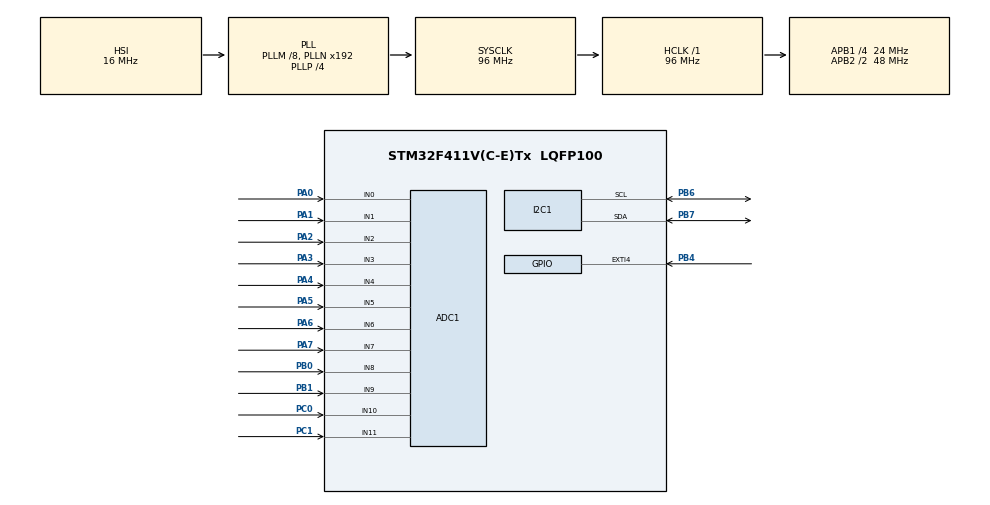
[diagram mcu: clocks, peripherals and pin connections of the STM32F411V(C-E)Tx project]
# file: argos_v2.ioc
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ADC1.Channel-0\#ChannelRegularConversion=ADC_CHANNEL_0
ADC1.Channel-1\#ChannelRegularConversion=ADC_CHANNEL_1
ADC1.Channel-10\#ChannelRegularConversion=ADC_CHANNEL_10
ADC1.Channel-11\#ChannelRegularConversion=ADC_CHANNEL_11
ADC1.Channel-2\#ChannelRegularConversion=ADC_CHANNEL_2
ADC1.Channel-3\#ChannelRegularConversion=ADC_CHANNEL_3
ADC1.Channel-4\#ChannelRegularConversion=ADC_CHANNEL_4
ADC1.Channel-5\#ChannelRegularConversion=ADC_CHANNEL_5
ADC1.Channel-6\#ChannelRegularConversion=ADC_CHANNEL_6
ADC1.Channel-7\#ChannelRegularConversion=ADC_CHANNEL_7
ADC1.Channel-8\#ChannelRegularConversion=ADC_CHANNEL_8
ADC1.Channel-9\#ChannelRegularConversion=ADC_CHANNEL_9
ADC1.ContinuousConvMode=DISABLE
ADC1.DMAContinuousRequests=ENABLE
ADC1.DiscontinuousConvMode=DISABLE
ADC1.EOCSelection=ADC_EOC_SEQ_CONV
ADC1.ExternalTrigConv=ADC_EXTERNALTRIGCONV_T3_TRGO
ADC1.NbrOfConversion=12
ADC1.NbrOfConversionFlag=1
ADC1.Rank-0\#ChannelRegularConversion=1
ADC1.Rank-1\#ChannelRegularConversion=2
ADC1.Rank-10\#ChannelRegularConversion=11
ADC1.Rank-11\#ChannelRegularConversion=12
ADC1.Rank-2\#ChannelRegularConversion=3
ADC1.Rank-3\#ChannelRegularConversion=4
ADC1.Rank-4\#ChannelRegularConversion=5
ADC1.Rank-5\#ChannelRegularConversion=6
ADC1.Rank-6\#ChannelRegularConversion=7
ADC1.Rank-7\#ChannelRegularConversion=8
ADC1.Rank-8\#ChannelRegularConversion=9
ADC1.Rank-9\#ChannelRegularConversion=10
ADC1.SamplingTime-0\#ChannelRegularConversion=ADC_SAMPLETIME_3CYCLES
ADC1.SamplingTime-1\#ChannelRegularConversion=ADC_SAMPLETIME_3CYCLES
ADC1.SamplingTime-10\#ChannelRegularConversion=ADC_SAMPLETIME_3CYCLES
ADC1.SamplingTime-11\#ChannelRegularConversion=ADC_SAMPLETIME_3CYCLES
ADC1.SamplingTime-2\#ChannelRegularConversion=ADC_SAMPLETIME_3CYCLES
ADC1.SamplingTime-3\#ChannelRegularConversion=ADC_SAMPLETIME_3CYCLES
ADC1.SamplingTime-4\#ChannelRegularConversion=ADC_SAMPLETIME_3CYCLES
ADC1.SamplingTime-5\#ChannelRegularConversion=ADC_SAMPLETIME_3CYCLES
ADC1.SamplingTime-6\#ChannelRegularConversion=ADC_SAMPLETIME_3CYCLES
ADC1.SamplingTime-7\#ChannelRegularConversion=ADC_SAMPLETIME_3CYCLES
ADC1.SamplingTime-8\#ChannelRegularConversion=ADC_SAMPLETIME_3CYCLES
ADC1.SamplingTime-9\#ChannelRegularConversion=ADC_SAMPLETIME_3CYCLES
ADC1.master=1
Dma.ADC1.0.Direction=DMA_PERIPH_TO_MEMORY
Dma.ADC1.0.FIFOMode=DMA_FIFOMODE_DISABLE
Dma.ADC1.0.Instance=DMA2_Stream0
Dma.ADC1.0.MemDataAlignment=DMA_MDATAALIGN_HALFWORD
Dma.ADC1.0.MemInc=DMA_MINC_ENABLE
Dma.ADC1.0.Mode=DMA_CIRCULAR
Dma.ADC1.0.PeriphDataAlignment=DMA_PDATAALIGN_HALFWORD
Dma.ADC1.0.PeriphInc=DMA_PINC_DISABLE
Dma.ADC1.0.Priority=DMA_PRIORITY_LOW
Dma.Request0=ADC1
I2C1.I2C_Mode=I2C_Fast
Mcu.Family=STM32F4
Mcu.Name=STM32F411V(C-E)Tx
Mcu.Package=LQFP100
NVIC.DMA2_Stream0_IRQn=true\:0\:0\:false\:false\:true\:false\:true\:true
NVIC.EXTI4_IRQn=true\:0\:0\:false\:false\:true\:true\:true\:true
NVIC.PriorityGroup=NVIC_PRIORITYGROUP_0
PA0-WKUP.Signal=ADCx_IN0
PA1.Signal=ADCx_IN1
PA2.Signal=ADCx_IN2
PA3.Signal=ADCx_IN3
PA4.Signal=ADCx_IN4
PA5.Signal=ADCx_IN5
PA6.Signal=ADCx_IN6
PA7.Signal=ADCx_IN7
PB0.Signal=ADCx_IN8
PB1.Signal=ADCx_IN9
PB4.Signal=GPXTI4
PB6.Mode=I2C
PB6.Signal=I2C1_SCL
PB7.Mode=I2C
PB7.Signal=I2C1_SDA
PC0.Signal=ADCx_IN10
PC1.Signal=ADCx_IN11
ProjectManager.HeapSize=0x200
ProjectManager.StackSize=0x400
ProjectManager.TargetToolchain=Makefile
RCC.48MHZClocksFreq_Value=48000000
RCC.AHBFreq_Value=96000000
RCC.APB1CLKDivider=RCC_HCLK_DIV4
RCC.APB1Freq_Value=24000000
RCC.APB1TimFreq_Value=48000000
RCC.APB2CLKDivider=RCC_HCLK_DIV2
RCC.APB2Freq_Value=48000000
RCC.APB2TimFreq_Value=96000000
RCC.CortexFreq_Value=96000000
RCC.HCLKFreq_Value=96000000
RCC.HSE_VALUE=8000000
RCC.HSI_VALUE=16000000
RCC.LSE_VALUE=32768
RCC.PLLI2SM=5
RCC.PLLI2SN=200
RCC.PLLM=8
RCC.PLLP=RCC_PLLP_DIV4
RCC.PLLQ=8
RCC.SYSCLKFreq_VALUE=96000000
RCC.SYSCLKSource=RCC_SYSCLKSOURCE_PLLCLK
RCC.VCOOutputFreq_Value=384000000
SH.ADCx_IN0.0=ADC1_IN0,IN0
SH.ADCx_IN1.0=ADC1_IN1,IN1
SH.ADCx_IN10.0=ADC1_IN10,IN10
SH.ADCx_IN11.0=ADC1_IN11,IN11
SH.ADCx_IN2.0=ADC1_IN2,IN2
SH.ADCx_IN3.0=ADC1_IN3,IN3
SH.ADCx_IN4.0=ADC1_IN4,IN4
SH.ADCx_IN5.0=ADC1_IN5,IN5
SH.ADCx_IN6.0=ADC1_IN6,IN6
SH.ADCx_IN7.0=ADC1_IN7,IN7
SH.ADCx_IN8.0=ADC1_IN8,IN8
SH.ADCx_IN9.0=ADC1_IN9,IN9
TIM2.Prescaler=47
TIM3.Period=5999
TIM3.Prescaler=15
TIM3.TIM_MasterOutputTrigger=TIM_TRGO_UPDATE
VP_TIM2_VS_ClockSourceINT.Mode=Internal
VP_TIM3_VS_ClockSourceINT.Mode=Internal
board=STM32F411E-DISCO

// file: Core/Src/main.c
/* USER CODE BEGIN Header */
/**
  ******************************************************************************
  * @file           : main.c
  * @brief          : Main program body
  ******************************************************************************
  * @attention
  *
  * Copyright (c) 2025 STMicroelectronics.
  * All rights reserved.
  *
  * This software is licensed under terms that can be found in the LICENSE file
  * in the root directory of this software component.
  * If no LICENSE file comes with this software, it is provided AS-IS.
  *
  ******************************************************************************
  */
/* USER CODE END Header */
#include "main.h"

/* USER CODE BEGIN Includes */
#include "mpu6050.h"
#include "pca9685.h"
#include "stm32f4xx_hal.h"
#include "stm32f4xx_hal_tim.h"
#include <stdbool.h>
#include <time.h>
#include "quadruped.h"
#include "timing.h"

/* USER CODE END Includes */

ADC_HandleTypeDef hadc1;
DMA_HandleTypeDef hdma_adc1;

I2C_HandleTypeDef hi2c1;

TIM_HandleTypeDef htim2;
TIM_HandleTypeDef htim3;

/* USER CODE BEGIN PV */
int16_t DMA_buffer[12];

timing_t timer = {
};

moving_avg_t ax_f = {
  .alpha = 0.9f,
  .average = 0.0f
};

moving_avg_t ay_f = {
  .alpha = 0.9f,
  .average = 0.0f
};

moving_avg_t az_f = {
  .alpha = 0.9f,
  .average = 0.0f
};

mpu6050_t imu = {
  .device_address = 0x68,
  .hi2c = &hi2c1,
  .timer = &timer,
  .ax_filtered = &ax_f,
  .ay_filtered = &ay_f,
  .az_filtered = &az_f
};

//Leg1
motor_t motor1 = {
  .motorPin = 0,
};

motor_t motor2 = {
  .motorPin = 1,
};

motor_t motor3 = {
  .motorPin = 2,
  };

//Leg2
motor_t motor4 = {
  .motorPin = 3,
};

motor_t motor5 = {
  .motorPin = 4,
};

motor_t motor6 = {
  .motorPin = 5,
};

//Leg3
  motor_t motor7 = {
  .motorPin = 6,
};

motor_t motor8 = {
  .motorPin = 7,
};

motor_t motor9 = {
  .motorPin = 8,
};

//Leg3
motor_t motor10 = {
.motorPin = 9,
};

motor_t motor11 = {
  .motorPin = 10,
};

motor_t motor12 = {
  .motorPin = 11,
};

//Leg Definitions
leg_t leg1 = {
  .motorList = {&motor1, &motor2, &motor3},
  .reflectionMap = {0, 0, 1, 1, 1, 1},
  .d_torso_foot = {xf1, yf, zf},
  .d_torso_hip = {L1, -height, width}
};

leg_t leg2 = {
  .motorList = {&motor4, &motor5, &motor6},
  .reflectionMap = {1,1 , 0, 1, -1, -1},
  .d_torso_foot = {xf1, yf, -zf},
  .d_torso_hip = {L1, -height, -width}
};

leg_t leg3 = {
  .motorList = {&motor7, &motor8, &motor9},
  .reflectionMap = {1, 0, 1, -1, 1, 1},
  .d_torso_foot = {-xf2, yf, zf},
  .d_torso_hip = {-L2, -height, width}
};

leg_t leg4 = {
  .motorList = {&motor10, &motor11, &motor12},
  .reflectionMap = {0, 1, 0, -1, -1, -1},
  .d_torso_foot = {-xf2, yf, -zf},
  .d_torso_hip = {-L2, -height, -width}
};

//Quadruped Definition
quadruped_t argos = {
  .legList = {&leg1, &leg2, &leg3, &leg4},
  .walk_step_delay = 0.1 //[s]
};

/* USER CODE END PV */

void SystemClock_Config(void);
static void MX_GPIO_Init(void);
static void MX_DMA_Init(void);
static void MX_ADC1_Init(void);
static void MX_TIM3_Init(void);
static void MX_I2C1_Init(void);
static void MX_TIM2_Init(void);

int main(void)
{

  /* MCU Configuration--------------------------------------------------------*/

  /* Reset of all peripherals, Initializes the Flash interface and the Systick. */
  HAL_Init();

  /* Configure the system clock */
  SystemClock_Config();

  /* Initialize all configured peripherals */
  MX_GPIO_Init();
  MX_DMA_Init();
  MX_ADC1_Init();
  MX_TIM3_Init();
  MX_I2C1_Init();
  MX_TIM2_Init();
  /* USER CODE BEGIN 2 */
  PCA9685_Init();
  mpu6050_init(&imu);
  PCA9685_SetPWMFrequency(50);
  quad_home(&argos);

  // HAL_TIM_Base_Start(&htim3);
  HAL_TIM_Base_Start(&htim2);
  HAL_ADC_Start_DMA(&hadc1, (uint32_t*)DMA_buffer, 12);

  /* USER CODE END 2 */

  /* Infinite loop */
  /* USER CODE BEGIN WHILE */
 while (1)
  {
    mpu6050_task(&imu);

    // quad_task(&argos);

  }
    // mpu6050_read_data(&hi2c1, &imu);
    // HAL_Delay(100);

    // motor_set_angle(&motor1, 90);
    /* USER CODE END WHILE */

}

void SystemClock_Config(void)
{
  RCC_OscInitTypeDef RCC_OscInitStruct = {0};
  RCC_ClkInitTypeDef RCC_ClkInitStruct = {0};

  /** Configure the main internal regulator output voltage
  */
  __HAL_RCC_PWR_CLK_ENABLE();
  __HAL_PWR_VOLTAGESCALING_CONFIG(PWR_REGULATOR_VOLTAGE_SCALE1);

  /** Initializes the RCC Oscillators according to the specified parameters
  * in the RCC_OscInitTypeDef structure.
  */
  RCC_OscInitStruct.OscillatorType = RCC_OSCILLATORTYPE_HSI;
  RCC_OscInitStruct.HSIState = RCC_HSI_ON;
  RCC_OscInitStruct.HSICalibrationValue = RCC_HSICALIBRATION_DEFAULT;
  RCC_OscInitStruct.PLL.PLLState = RCC_PLL_ON;
  RCC_OscInitStruct.PLL.PLLSource = RCC_PLLSOURCE_HSI;
  RCC_OscInitStruct.PLL.PLLM = 8;
  RCC_OscInitStruct.PLL.PLLN = 192;
  RCC_OscInitStruct.PLL.PLLP = RCC_PLLP_DIV4;
  RCC_OscInitStruct.PLL.PLLQ = 8;
  if (HAL_RCC_OscConfig(&RCC_OscInitStruct) != HAL_OK)
  {
    Error_Handler();
  }

  /** Initializes the CPU, AHB and APB buses clocks
  */
  RCC_ClkInitStruct.ClockType = RCC_CLOCKTYPE_HCLK|RCC_CLOCKTYPE_SYSCLK
                              |RCC_CLOCKTYPE_PCLK1|RCC_CLOCKTYPE_PCLK2;
  RCC_ClkInitStruct.SYSCLKSource = RCC_SYSCLKSOURCE_PLLCLK;
  RCC_ClkInitStruct.AHBCLKDivider = RCC_SYSCLK_DIV1;
  RCC_ClkInitStruct.APB1CLKDivider = RCC_HCLK_DIV4;
  RCC_ClkInitStruct.APB2CLKDivider = RCC_HCLK_DIV2;

  if (HAL_RCC_ClockConfig(&RCC_ClkInitStruct, FLASH_LATENCY_3) != HAL_OK)
  {
    Error_Handler();
  }
}

static void MX_ADC1_Init(void)
{

  ADC_ChannelConfTypeDef sConfig = {0};

  /** Configure the global features of the ADC (Clock, Resolution, Data Alignment and number of conversion)
  */
  hadc1.Instance = ADC1;
  hadc1.Init.ClockPrescaler = ADC_CLOCK_SYNC_PCLK_DIV2;
  hadc1.Init.Resolution = ADC_RESOLUTION_12B;
  hadc1.Init.ScanConvMode = ENABLE;
  hadc1.Init.ContinuousConvMode = DISABLE;
  hadc1.Init.DiscontinuousConvMode = DISABLE;
  hadc1.Init.ExternalTrigConvEdge = ADC_EXTERNALTRIGCONVEDGE_RISING;
  hadc1.Init.ExternalTrigConv = ADC_EXTERNALTRIGCONV_T3_TRGO;
  hadc1.Init.DataAlign = ADC_DATAALIGN_RIGHT;
  hadc1.Init.NbrOfConversion = 12;
  hadc1.Init.DMAContinuousRequests = ENABLE;
  hadc1.Init.EOCSelection = ADC_EOC_SEQ_CONV;
  if (HAL_ADC_Init(&hadc1) != HAL_OK)
  {
    Error_Handler();
  }

  /** Configure for the selected ADC regular channel its corresponding rank in the sequencer and its sample time.
  */
  sConfig.Channel = ADC_CHANNEL_0;
  sConfig.Rank = 1;
  sConfig.SamplingTime = ADC_SAMPLETIME_3CYCLES;
  if (HAL_ADC_ConfigChannel(&hadc1, &sConfig) != HAL_OK)
  {
    Error_Handler();
  }

  /** Configure for the selected ADC regular channel its corresponding rank in the sequencer and its sample time.
  */
  sConfig.Channel = ADC_CHANNEL_1;
  sConfig.Rank = 2;
  if (HAL_ADC_ConfigChannel(&hadc1, &sConfig) != HAL_OK)
  {
    Error_Handler();
  }

  /** Configure for the selected ADC regular channel its corresponding rank in the sequencer and its sample time.
  */
  sConfig.Channel = ADC_CHANNEL_2;
  sConfig.Rank = 3;
  if (HAL_ADC_ConfigChannel(&hadc1, &sConfig) != HAL_OK)
  {
    Error_Handler();
  }

  /** Configure for the selected ADC regular channel its corresponding rank in the sequencer and its sample time.
  */
  sConfig.Channel = ADC_CHANNEL_3;
  sConfig.Rank = 4;
  if (HAL_ADC_ConfigChannel(&hadc1, &sConfig) != HAL_OK)
  {
    Error_Handler();
  }

  /** Configure for the selected ADC regular channel its corresponding rank in the sequencer and its sample time.
  */
  sConfig.Channel = ADC_CHANNEL_4;
  sConfig.Rank = 5;
  if (HAL_ADC_ConfigChannel(&hadc1, &sConfig) != HAL_OK)
  {
    Error_Handler();
  }

  /** Configure for the selected ADC regular channel its corresponding rank in the sequencer and its sample time.
  */
  sConfig.Channel = ADC_CHANNEL_5;
  sConfig.Rank = 6;
  if (HAL_ADC_ConfigChannel(&hadc1, &sConfig) != HAL_OK)
  {
    Error_Handler();
  }

  /** Configure for the selected ADC regular channel its corresponding rank in the sequencer and its sample time.
  */
  sConfig.Channel = ADC_CHANNEL_6;
  sConfig.Rank = 7;
  if (HAL_ADC_ConfigChannel(&hadc1, &sConfig) != HAL_OK)
  {
    Error_Handler();
  }

  /** Configure for the selected ADC regular channel its corresponding rank in the sequencer and its sample time.
  */
  sConfig.Channel = ADC_CHANNEL_7;
  sConfig.Rank = 8;
  if (HAL_ADC_ConfigChannel(&hadc1, &sConfig) != HAL_OK)
  {
    Error_Handler();
  }

  /** Configure for the selected ADC regular channel its corresponding rank in the sequencer and its sample time.
  */
  sConfig.Channel = ADC_CHANNEL_8;
  sConfig.Rank = 9;
  if (HAL_ADC_ConfigChannel(&hadc1, &sConfig) != HAL_OK)
  {
    Error_Handler();
  }

  /** Configure for the selected ADC regular channel its corresponding rank in the sequencer and its sample time.
  */
  sConfig.Channel = ADC_CHANNEL_9;
  sConfig.Rank = 10;
  if (HAL_ADC_ConfigChannel(&hadc1, &sConfig) != HAL_OK)
  {
    Error_Handler();
  }

  /** Configure for the selected ADC regular channel its corresponding rank in the sequencer and its sample time.
  */
  sConfig.Channel = ADC_CHANNEL_10;
  sConfig.Rank = 11;
  if (HAL_ADC_ConfigChannel(&hadc1, &sConfig) != HAL_OK)
  {
    Error_Handler();
  }

  /** Configure for the selected ADC regular channel its corresponding rank in the sequencer and its sample time.
  */
  sConfig.Channel = ADC_CHANNEL_11;
  sConfig.Rank = 12;
  if (HAL_ADC_ConfigChannel(&hadc1, &sConfig) != HAL_OK)
  {
    Error_Handler();
  }

}

static void MX_I2C1_Init(void)
{

  hi2c1.Instance = I2C1;
  hi2c1.Init.ClockSpeed = 400000;
  hi2c1.Init.DutyCycle = I2C_DUTYCYCLE_2;
  hi2c1.Init.OwnAddress1 = 0;
  hi2c1.Init.AddressingMode = I2C_ADDRESSINGMODE_7BIT;
  hi2c1.Init.DualAddressMode = I2C_DUALADDRESS_DISABLE;
  hi2c1.Init.OwnAddress2 = 0;
  hi2c1.Init.GeneralCallMode = I2C_GENERALCALL_DISABLE;
  hi2c1.Init.NoStretchMode = I2C_NOSTRETCH_DISABLE;
  if (HAL_I2C_Init(&hi2c1) != HAL_OK)
  {
    Error_Handler();
  }

}

static void MX_TIM2_Init(void)
{

  TIM_ClockConfigTypeDef sClockSourceConfig = {0};
  TIM_MasterConfigTypeDef sMasterConfig = {0};

  htim2.Instance = TIM2;
  htim2.Init.Prescaler = 47;
  htim2.Init.CounterMode = TIM_COUNTERMODE_UP;
  htim2.Init.Period = 4294967295;
  htim2.Init.ClockDivision = TIM_CLOCKDIVISION_DIV1;
  htim2.Init.AutoReloadPreload = TIM_AUTORELOAD_PRELOAD_DISABLE;
  if (HAL_TIM_Base_Init(&htim2) != HAL_OK)
  {
    Error_Handler();
  }
  sClockSourceConfig.ClockSource = TIM_CLOCKSOURCE_INTERNAL;
  if (HAL_TIM_ConfigClockSource(&htim2, &sClockSourceConfig) != HAL_OK)
  {
    Error_Handler();
  }
  sMasterConfig.MasterOutputTrigger = TIM_TRGO_RESET;
  sMasterConfig.MasterSlaveMode = TIM_MASTERSLAVEMODE_DISABLE;
  if (HAL_TIMEx_MasterConfigSynchronization(&htim2, &sMasterConfig) != HAL_OK)
  {
    Error_Handler();
  }

}

static void MX_TIM3_Init(void)
{

  TIM_ClockConfigTypeDef sClockSourceConfig = {0};
  TIM_MasterConfigTypeDef sMasterConfig = {0};

  htim3.Instance = TIM3;
  htim3.Init.Prescaler = 15;
  htim3.Init.CounterMode = TIM_COUNTERMODE_UP;
  htim3.Init.Period = 5999;
  htim3.Init.ClockDivision = TIM_CLOCKDIVISION_DIV1;
  htim3.Init.AutoReloadPreload = TIM_AUTORELOAD_PRELOAD_DISABLE;
  if (HAL_TIM_Base_Init(&htim3) != HAL_OK)
  {
    Error_Handler();
  }
  sClockSourceConfig.ClockSource = TIM_CLOCKSOURCE_INTERNAL;
  if (HAL_TIM_ConfigClockSource(&htim3, &sClockSourceConfig) != HAL_OK)
  {
    Error_Handler();
  }
  sMasterConfig.MasterOutputTrigger = TIM_TRGO_UPDATE;
  sMasterConfig.MasterSlaveMode = TIM_MASTERSLAVEMODE_DISABLE;
  if (HAL_TIMEx_MasterConfigSynchronization(&htim3, &sMasterConfig) != HAL_OK)
  {
    Error_Handler();
  }

}

static void MX_DMA_Init(void)
{

  /* DMA controller clock enable */
  __HAL_RCC_DMA2_CLK_ENABLE();

  /* DMA interrupt init */
  /* DMA2_Stream0_IRQn interrupt configuration */
  HAL_NVIC_SetPriority(DMA2_Stream0_IRQn, 0, 0);
  HAL_NVIC_EnableIRQ(DMA2_Stream0_IRQn);

}

static void MX_GPIO_Init(void)
{
  GPIO_InitTypeDef GPIO_InitStruct = {0};

  /* GPIO Ports Clock Enable */
  __HAL_RCC_GPIOC_CLK_ENABLE();
  __HAL_RCC_GPIOA_CLK_ENABLE();
  __HAL_RCC_GPIOB_CLK_ENABLE();

  /*Configure GPIO pin : PB4 */
  GPIO_InitStruct.Pin = GPIO_PIN_4;
  GPIO_InitStruct.Mode = GPIO_MODE_IT_RISING;
  GPIO_InitStruct.Pull = GPIO_NOPULL;
  HAL_GPIO_Init(GPIOB, &GPIO_InitStruct);

  /* EXTI interrupt init*/
  HAL_NVIC_SetPriority(EXTI4_IRQn, 0, 0);
  HAL_NVIC_EnableIRQ(EXTI4_IRQn);

}

void Error_Handler(void)
{
  __disable_irq();
  while (1)
  {
  }
}
